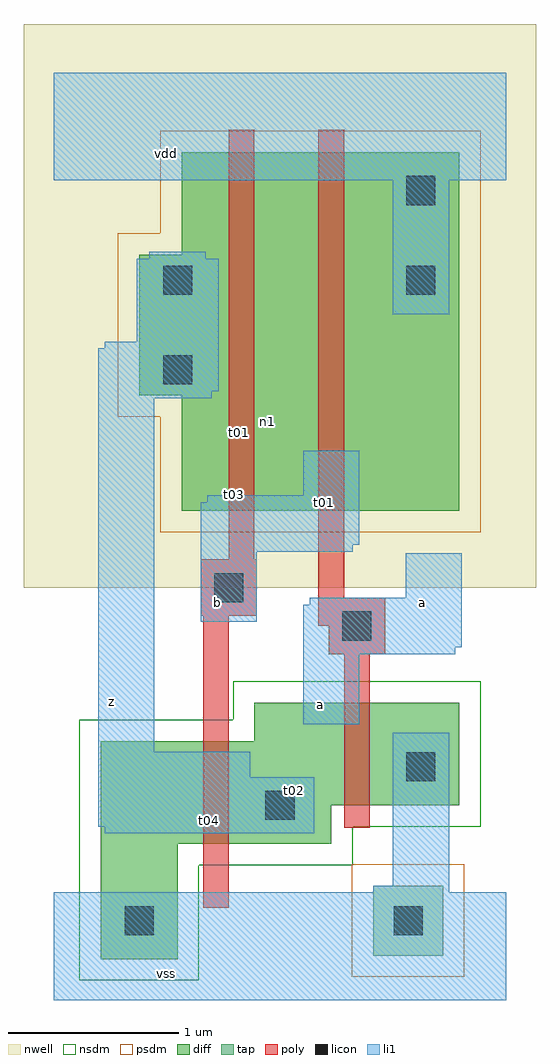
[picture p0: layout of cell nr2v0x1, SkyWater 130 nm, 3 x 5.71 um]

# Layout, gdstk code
import gdstk
lib = gdstk.Library(unit=1e-6, precision=5e-09)
def R(c, l, rs):  # rectangles x0, y0, x1, y1
    for r in rs: c.add(gdstk.rectangle(r[:2], r[2:], *l))
nwell = (64, 20)
diff = (65, 20)
tap = (65, 44)
poly = (66, 20)
licon = (66, 44)
li1 = (67, 20)
nsdm = (93, 44)
psdm = (94, 20)

nr2v0x1 = lib.new_cell('nr2v0x1')
R(nr2v0x1, nwell, [(-0.3,2.4,2.7,5.7)])
R(nr2v0x1, diff, [(0.15,0.225,0.6,1.5), (0.15,0.9,1.5,1.5), (1.05,0.9,1.5,1.725), (1.05,0.9,1.5,1.725), (1.05,1.125,2.25,1.725), (0.625,2.85,2.25,4.95), (0.375,3.525,2.25,4.35)])
R(nr2v0x1, tap, [(1.745,0.245,2.155,0.655)])
R(nr2v0x1, poly, [(0.75,0.525,0.9,2.565), (1.575,0.995,1.725,2.34), (1.485,2.01,1.815,2.34), (1.425,2.175,1.815,2.34), (1.425,2.175,1.815,2.34), (1.425,2.175,1.725,2.34), (1.425,2.175,1.575,5.08), (0.735,2.235,1.065,2.565), (0.9,2.235,1.05,5.08)])
R(nr2v0x1, licon, [(0.29,0.365,0.46,0.535), (1.865,0.365,2.035,0.535), (1.115,1.04,1.285,1.21), (1.94,1.265,2.11,1.435), (1.565,2.09,1.735,2.26), (0.815,2.315,0.985,2.485), (0.515,3.59,0.685,3.76), (0.515,4.115,0.685,4.285), (1.94,4.115,2.11,4.285), (1.94,4.64,2.11,4.81)])
R(nr2v0x1, li1, [(-0.125,-0.015,2.525,0.615), (-0.125,-0.015,2.525,0.615), (1.745,-0.015,2.19,0.655), (1.86,-0.015,2.19,1.55), (0.175,0.96,1.025,1.44), (0.175,0.96,0.465,3.84), (0.175,0.96,1.4,1.29), (0.135,1,1.025,1.44), (0.135,1,0.465,3.8), (0.135,1,1.4,1.29), (0.175,1,0.465,3.84), (0.175,1,0.465,3.84), (0.775,1.035,1.025,1.365), (0.135,1.075,0.465,3.725), (1.335,1.6,1.665,2.3), (1.375,1.6,1.665,2.34), (1.375,1.635,1.625,1.965), (1.335,2.01,2.225,2.3), (1.375,2.01,2.225,2.34), (1.935,2.01,2.225,2.6), (1.335,2.05,2.265,2.3), (1.375,2.05,2.265,2.34), (1.935,2.05,2.265,2.6), (0.735,2.2,1.065,2.9), (0.775,2.2,1.065,2.94), (0.775,2.2,1.065,2.94), (0.775,2.235,1.025,2.565), (1.975,2.235,2.225,2.565), (0.735,2.61,1.625,2.9), (0.775,2.61,1.625,2.94), (1.335,2.61,1.625,3.2), (0.735,2.65,1.665,2.9), (0.775,2.65,1.665,2.94), (1.335,2.65,1.665,3.2), (1.375,2.835,1.625,3.165), (0.135,3.51,0.8,3.8), (0.135,3.51,0.8,3.8), (0.135,3.51,0.8,3.8), (0.135,3.51,0.765,3.8), (0.175,3.51,0.8,3.84), (0.175,3.51,0.8,3.84), (0.175,3.51,0.8,3.84), (0.175,3.51,0.765,3.84), (0.36,3.51,0.8,4.325), (0.435,3.51,0.765,4.365), (0.135,3.55,0.84,3.8), (0.135,3.55,0.84,3.8), (0.135,3.55,0.84,3.8), (0.135,3.55,0.84,3.8), (0.135,3.55,0.84,3.8), (0.175,3.55,0.84,3.84), (0.175,3.55,0.84,3.84), (0.175,3.55,0.84,3.84), (0.36,3.55,0.84,4.325), (1.86,4,2.19,5.415), (-0.125,4.785,2.525,5.415), (-0.125,4.785,2.525,5.415)])
R(nr2v0x1, nsdm, [(0.025,0.1,0.725,1.625), (0.15,0.225,0.6,1.5), (0.15,0.225,0.6,1.5), (0.23,0.305,0.52,0.595), (0.025,0.775,1.625,1.625), (0.925,0.775,1.625,1.85), (0.925,0.775,1.625,1.85), (1.05,0.9,1.5,1.725), (1.05,0.9,1.5,1.725), (1.055,0.98,1.345,1.27), (0.025,1,2.375,1.625), (0.025,1,2.375,1.625), (0.925,1,2.375,1.85), (1.8,1.125,2.25,1.725), (1.8,1.125,2.25,1.725), (1.88,1.205,2.17,1.495)])
R(nr2v0x1, psdm, [(1.62,0.12,2.28,0.78), (0.5,2.725,2.375,5.075), (1.05,2.85,1.35,4.95), (1.05,2.85,1.35,4.95), (1.8,2.85,2.25,4.95), (1.8,2.85,2.25,4.95), (0.25,3.4,2.375,4.475), (0.375,3.525,0.825,4.35), (0.375,3.525,0.825,4.35), (0.455,3.53,0.745,3.82), (0.455,4.055,0.745,4.345), (1.88,4.055,2.17,4.345), (1.88,4.58,2.17,4.87)])
nr2v0x1.add(gdstk.Label('t02', (1.285,1.21), layer=93, texttype=44))
nr2v0x1.add(gdstk.Label('t01', (0.965,3.31), layer=94, texttype=20))
nr2v0x1.add(gdstk.Label('t02', (1.35,1.275), layer=65, texttype=20))
nr2v0x1.add(gdstk.Label('t01', (1.03,3.375), layer=65, texttype=20))
nr2v0x1.add(gdstk.Label('n1', (1.125,3.375), layer=94, texttype=20))
nr2v0x1.add(gdstk.Label('t04', (0.785,1.035), layer=66, texttype=20))
nr2v0x1.add(gdstk.Label('t03', (0.935,2.945), layer=66, texttype=20))
nr2v0x1.add(gdstk.Label('t01', (1.46,2.9), layer=66, texttype=20))
nr2v0x1.add(gdstk.Label('z', (0.835,1.115), layer=67, texttype=20))
nr2v0x1.add(gdstk.Label('b', (0.835,2.315), layer=67, texttype=20))
nr2v0x1.add(gdstk.Label('z', (0.215,1.735), layer=67, texttype=20))
nr2v0x1.add(gdstk.Label('a', (1.435,1.715), layer=67, texttype=20))
nr2v0x1.add(gdstk.Label('b', (1.435,2.915), layer=67, texttype=20))
nr2v0x1.add(gdstk.Label('vss', (0.535,0.14), layer=67, texttype=20))
nr2v0x1.add(gdstk.Label('a', (2.035,2.315), layer=67, texttype=20))
nr2v0x1.add(gdstk.Label('vdd', (0.535,4.94), layer=67, texttype=20))

lib.write_gds('nr2v0x1.gds')
